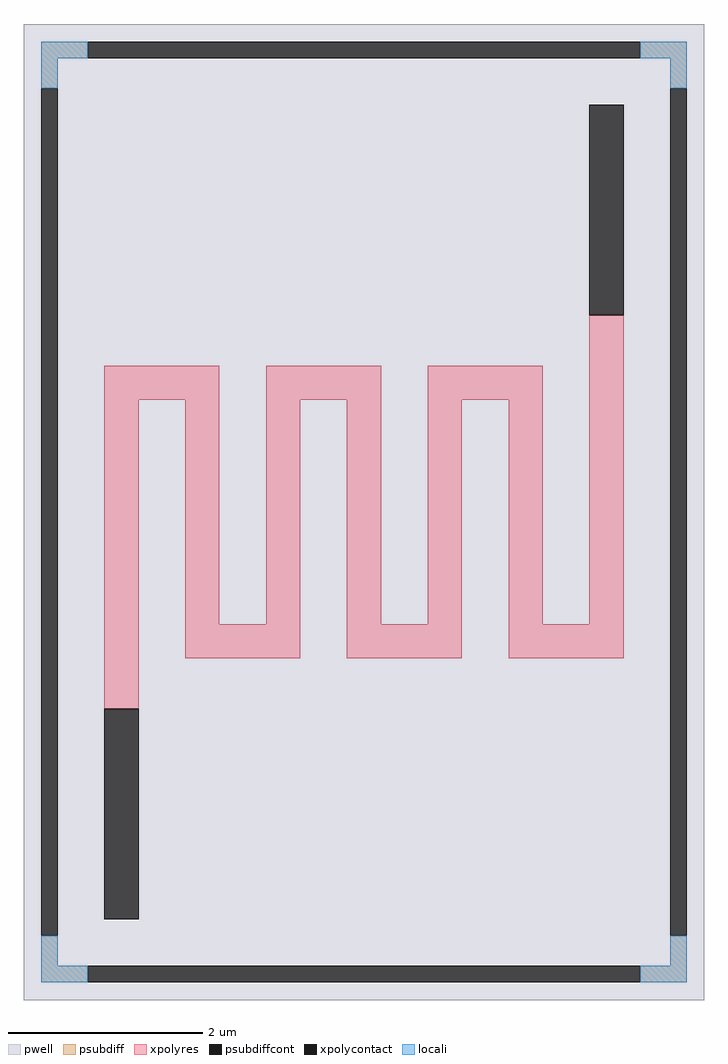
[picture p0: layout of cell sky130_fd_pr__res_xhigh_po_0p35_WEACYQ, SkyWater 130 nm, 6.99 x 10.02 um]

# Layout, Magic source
magic
tech sky130A
magscale 1 2
<< pwell >>
rect -699 -1002 699 1002
<< psubdiff >>
rect -663 932 -567 966
rect 567 932 663 966
rect -663 870 -629 932
rect 629 870 663 932
rect -663 -932 -629 -870
rect 629 -932 663 -870
rect -663 -966 -567 -932
rect 567 -966 663 -932
<< psubdiffcont >>
rect -567 932 567 966
rect -663 -870 -629 870
rect 629 -870 663 870
rect -567 -966 567 -932
<< xpolycontact >>
rect 463 404 533 836
rect -533 -836 -463 -404
<< xpolyres >>
rect -533 230 -297 300
rect -533 -404 -463 230
rect -367 -230 -297 230
rect -201 230 35 300
rect -201 -230 -131 230
rect -367 -300 -131 -230
rect -35 -230 35 230
rect 131 230 367 300
rect 131 -230 201 230
rect -35 -300 201 -230
rect 297 -230 367 230
rect 463 -230 533 404
rect 297 -300 533 -230
<< locali >>
rect -663 932 -567 966
rect 567 932 663 966
rect -663 870 -629 932
rect 629 870 663 932
rect -663 -932 -629 -870
rect 629 -932 663 -870
rect -663 -966 -567 -932
rect 567 -966 663 -932
<< properties >>
string FIXED_BBOX -646 -949 646 949
string gencell sky130_fd_pr__res_xhigh_po_0p35
string library sky130
string parameters w 0.35 l 3 m 1 nx 7 wmin 0.350 lmin 0.50 rho 2000 val 133.075k dummy 0 dw 0.0 term 188.2 sterm 0.0 caplen 0 wmax 0.350 guard 1 glc 1 grc 1 gtc 1 gbc 1 compatible {sky130_fd_pr__res_xhigh_po_0p35  sky130_fd_pr__res_xhigh_po_0p69 sky130_fd_pr__res_xhigh_po_1p41  sky130_fd_pr__res_xhigh_po_2p85 sky130_fd_pr__res_xhigh_po_5p73} snake 1 full_metal 1 n_guard 0 hv_guard 0 vias 1 viagb 0 viagt 0 viagl 0 viagr 0
<< end >>
